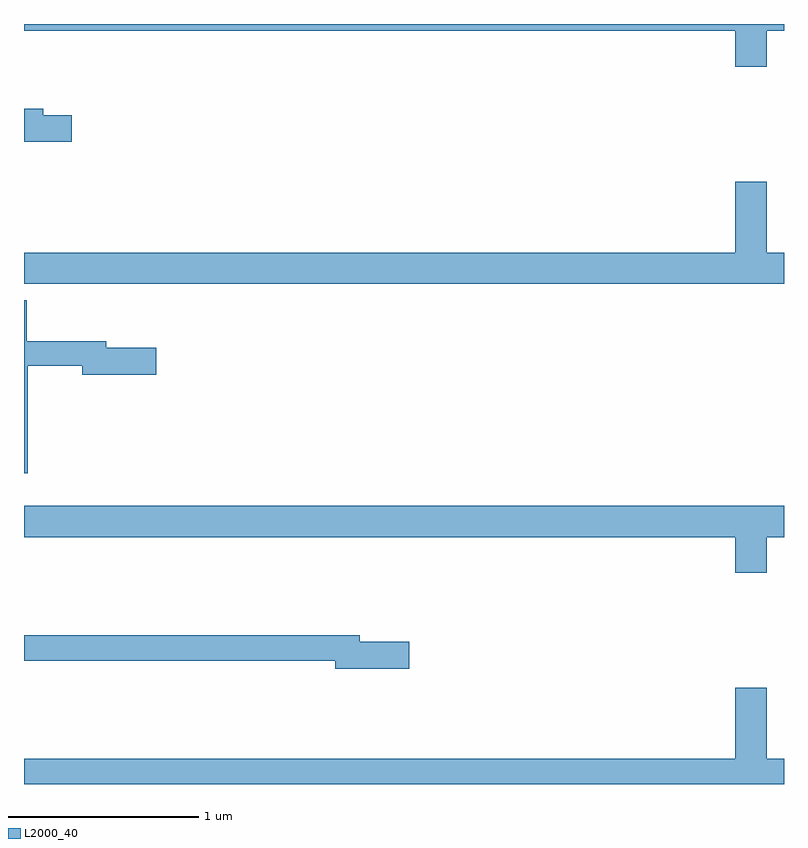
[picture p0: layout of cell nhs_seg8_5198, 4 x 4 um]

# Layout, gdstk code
import gdstk
lib = gdstk.Library(unit=1e-6, precision=1e-09)
def P(c, l, *ps):  # polygons
    for p in ps: c.add(gdstk.Polygon(p, *l))
L2000_40 = (2000, 40)

nhs_seg8_5198 = lib.new_cell('nhs_seg8_5198')
P(nhs_seg8_5198, L2000_40, [(428.908,1085.864),(429,1085.864),(429,1085.9),(425,1085.9),(425,1085.864),(428.744,1085.864),(428.744,1085.676),(428.908,1085.676)],
  [(425.251,1085.421),(425.101,1085.421),(425.101,1085.455),(425,1085.455),(425,1085.279),(425.251,1085.279)],
  [(429,1084.696),(428.908,1084.696),(428.908,1085.071),(428.744,1085.071),(428.744,1084.696),(425,1084.696),(425,1084.532),(429,1084.532)],
  [(425.021,1084.102),(425.306,1084.102),(425.306,1084.055),(425.695,1084.055),(425.695,1084.197),(425.434,1084.197),(425.434,1084.231),(425.015,1084.231),(425.015,1084.447),(425,1084.447),(425,1083.536),(425.021,1083.536)],
  [(428.908,1083.2),(429,1083.2),(429,1083.364),(425,1083.364),(425,1083.2),(428.744,1083.2),(428.744,1083.012),(428.908,1083.012)],
  [(427.027,1082.648),(426.766,1082.648),(426.766,1082.684),(425,1082.684),(425,1082.548),(426.638,1082.548),(426.638,1082.506),(427.027,1082.506)],
  [(425,1081.9),(429,1081.9),(429,1082.032),(428.908,1082.032),(428.908,1082.407),(428.744,1082.407),(428.744,1082.032),(425,1082.032)])

lib.write_gds('nhs_seg8_5198.gds')
